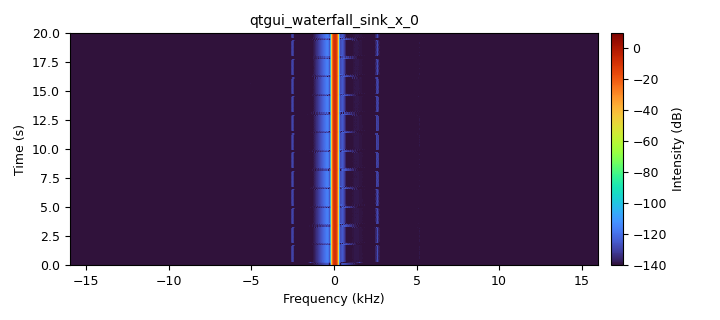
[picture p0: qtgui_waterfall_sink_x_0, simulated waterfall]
<?xml version='1.0' encoding='utf-8'?>
<?grc format='1' created='3.7.6'?>
<flow_graph>
<block>
<key>options</key>
<param><key>id</key><value>top_block</value></param>
<param><key>generate_options</key><value>qt_gui</value></param>
<param><key>category</key><value>Custom</value></param>
</block>
<block>
<key>variable</key>
<param><key>id</key><value>samp_rate</value></param>
<param><key>value</key><value>32e3</value></param>
</block>
<block>
<key>variable</key>
<param><key>id</key><value>ss</value></param>
<param><key>value</key><value>int(32e3/baud)</value></param>
</block>
<block>
<key>qtgui_waterfall_sink_x</key>
<param><key>id</key><value>qtgui_waterfall_sink_x_0</value></param>
<param><key>type</key><value>complex</value></param>
<param><key>fftsize</key><value>1024/2</value></param>
<param><key>wintype</key><value>firdes.WIN_BLACKMAN_hARRIS</value></param>
<param><key>fc</key><value>0</value></param>
<param><key>bw</key><value>samp_rate</value></param>
<param><key>showports</key><value>True</value></param>
</block>
<block>
<key>blocks_throttle</key>
<param><key>id</key><value>blocks_throttle_0</value></param>
<param><key>type</key><value>complex</value></param>
<param><key>samples_per_second</key><value>int(baud*ss)</value></param>
</block>
<block>
<key>variable_qtgui_range</key>
<param><key>id</key><value>baud</value></param>
<param><key>value</key><value>10</value></param>
<param><key>start</key><value>1</value></param>
<param><key>stop</key><value>100</value></param>
<param><key>step</key><value>1</value></param>
<param><key>orient</key><value>Qt.Horizontal</value></param>
</block>
<block>
<key>digital_gmsk_mod</key>
<param><key>id</key><value>digital_gmsk_mod_0</value></param>
<param><key>samples_per_symbol</key><value>ss</value></param>
<param><key>bt</key><value>0.35</value></param>
</block>
<block>
<key>blocks_vector_source_x</key>
<param><key>id</key><value>blocks_vector_source_x_0</value></param>
<param><key>type</key><value>byte</value></param>
<param><key>vector</key><value>(0,1,0,1)</value></param>
<param><key>repeat</key><value>True</value></param>
</block>
<connection><source_block_id>blocks_throttle_0</source_block_id><sink_block_id>qtgui_waterfall_sink_x_0</sink_block_id><source_key>0</source_key><sink_key>0</sink_key></connection>
<connection><source_block_id>digital_gmsk_mod_0</source_block_id><sink_block_id>blocks_throttle_0</sink_block_id><source_key>0</source_key><sink_key>0</sink_key></connection>
<connection><source_block_id>blocks_vector_source_x_0</source_block_id><sink_block_id>digital_gmsk_mod_0</sink_block_id><source_key>0</source_key><sink_key>0</sink_key></connection>
</flow_graph>
